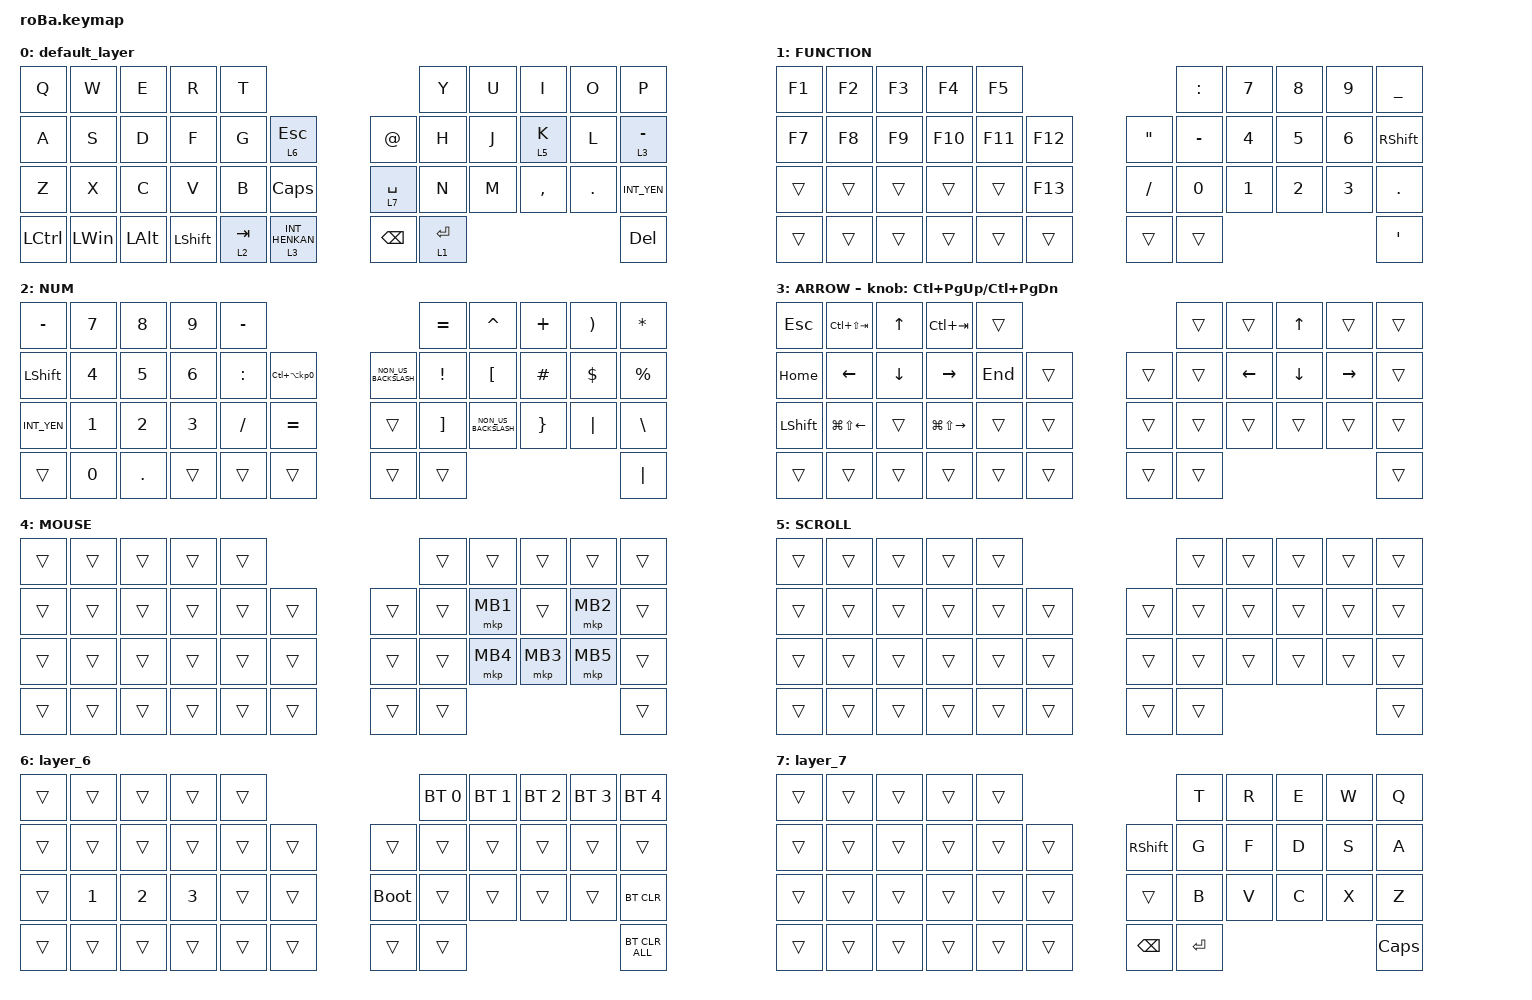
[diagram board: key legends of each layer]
#include <behaviors.dtsi>
#include <dt-bindings/zmk/bt.h>
#include <dt-bindings/zmk/keys.h>
#include <dt-bindings/zmk/pointing.h>

&mt {
    flavor = "balanced";
    quick-tap-ms = <0>;
};

&trackball {
    automouse-layer = <4>;
    scroll-layers = <5>;

    // arrows {
    //     layers = <3>;
    //     bindings =
    //         <&kp RIGHT_ARROW>,
    //         <&kp LEFT_ARROW>,
    //         <&kp UP_ARROW>,
    //         <&kp DOWN_ARROW>;
    //     tick = <10>;
    //     wait-ms = <5>;
    //     tap-ms = <5>;
    // };
};

/ {
    combos {
        compatible = "zmk,combos";

        tab {
            bindings = <&kp TAB>;
            key-positions = <11 12>;
        };

        shift_tab {
            bindings = <&kp LS(TAB)>;
            key-positions = <12 13>;
        };

        muhennkann {
            bindings = <&to_layer_0 INT_MUHENKAN>;
            key-positions = <11 10>;
        };

        double_quotation {
            bindings = <&kp DOUBLE_QUOTES>;
            key-positions = <20 21>;
        };

        eq {
            bindings = <&kp EQUAL>;
            key-positions = <24 25>;
        };
    };

    macros {
        to_layer_0: to_layer_0 {
            compatible = "zmk,behavior-macro-one-param";
            #binding-cells = <1>;
            bindings = <&to 0 &macro_param_1to1 &kp MACRO_PLACEHOLDER>;
            label = "TO_LAYER_0";
        };
    };

    behaviors {
        lt_to_layer_0: lt_to_layer_0 {
            compatible = "zmk,behavior-hold-tap";
            label = "LAYER_TAP_TO_0";
            bindings = <&mo>, <&to_layer_0>;

            #binding-cells = <2>;
            tapping-term-ms = <200>;
        };
    };

    keymap {
        compatible = "zmk,keymap";

        default_layer {
            bindings = <
&kp Q             &kp W         &kp E         &kp R           &kp T                                                      &kp Y        &kp U  &kp I      &kp O    &kp P
&kp A             &kp S         &kp D         &kp F           &kp G      &lt 6 ESCAPE                     &kp AT         &kp H        &kp J  &lt 5 K    &kp L    &lt 3 MINUS
&kp Z             &kp X         &kp C         &kp V           &kp B      &kp CAPS                         &lt 7 SPACE    &kp N        &kp M  &kp COMMA  &kp DOT  &kp INT_YEN
&kp LEFT_CONTROL  &kp LEFT_WIN  &kp LEFT_ALT  &kp LEFT_SHIFT  &lt 2 TAB  &lt_to_layer_0 3 INT_HENKAN      &kp BACKSPACE  &lt 1 ENTER                             &kp DEL
            >;
        };

        FUNCTION {
            bindings = <
&kp F1  &kp F2  &kp F3  &kp F4   &kp F5                                   &kp COLON  &kp N7  &kp N8  &kp N9  &kp UNDER
&kp F7  &kp F8  &kp F9  &kp F10  &kp F11  &kp F12      &kp DOUBLE_QUOTES  &kp MINUS  &kp N4  &kp N5  &kp N6  &kp RIGHT_SHIFT
&trans  &trans  &trans  &trans   &trans   &kp F13      &kp SLASH          &kp N0     &kp N1  &kp N2  &kp N3  &kp PERIOD
&trans  &trans  &trans  &trans   &trans   &trans       &trans             &trans                             &kp SINGLE_QUOTE
            >;
        };

        NUM {
            bindings = <
&kp MINUS       &kp NUMBER_7  &kp NUMBER_8  &kp NUMBER_9  &kp MINUS                                                     &kp EQUAL          &kp CARET             &kp PLUS         &kp RIGHT_PARENTHESIS  &kp STAR
&kp LEFT_SHIFT  &kp NUMBER_4  &kp NUMBER_5  &kp NUMBER_6  &kp COLON  &kp LC(LA(KP_NUMBER_0))      &kp NON_US_BACKSLASH  &kp EXCLAMATION    &kp LEFT_BRACKET      &kp HASH         &kp DOLLAR             &kp PERCENT
&kp INT_YEN     &kp NUMBER_1  &kp NUMBER_2  &kp NUMBER_3  &kp SLASH  &kp EQUAL                    &trans                &kp RIGHT_BRACKET  &kp NON_US_BACKSLASH  &kp RIGHT_BRACE  &kp PIPE               &kp BACKSLASH
&trans          &kp N0        &kp PERIOD    &trans        &trans     &trans                       &trans                &trans                                                                           &kp PIPE
            >;
        };

        ARROW {
            bindings = <
&kp ESCAPE      &kp LC(LS(TAB))         &kp UP_ARROW    &kp LC(TAB)              &trans                       &trans  &trans          &kp UP_ARROW    &trans     &trans
&kp HOME        &kp LEFT_ARROW          &kp DOWN_ARROW  &kp RIGHT_ARROW          &kp END  &trans      &trans  &trans  &kp LEFT_ARROW  &kp DOWN_ARROW  &kp RIGHT  &trans
&kp LEFT_SHIFT  &kp LG(LS(LEFT_ARROW))  &trans          &kp LG(LS(RIGHT_ARROW))  &trans   &trans      &trans  &trans  &trans          &trans          &trans     &trans
&trans          &trans                  &trans          &trans                   &trans   &trans      &trans  &trans                                             &trans
            >;

            sensor-bindings = <&inc_dec_kp LC(PAGE_UP) LC(PAGE_DOWN)>;
        };

        MOUSE {
            bindings = <
&trans  &trans  &trans  &trans  &trans                      &trans  &trans    &trans    &trans    &trans
&trans  &trans  &trans  &trans  &trans  &trans      &trans  &trans  &mkp MB1  &trans    &mkp MB2  &trans
&trans  &trans  &trans  &trans  &trans  &trans      &trans  &trans  &mkp MB4  &mkp MB3  &mkp MB5  &trans
&trans  &trans  &trans  &trans  &trans  &trans      &trans  &trans                                &trans
            >;
        };

        SCROLL {
            bindings = <
&trans  &trans  &trans  &trans  &trans                      &trans  &trans  &trans  &trans  &trans
&trans  &trans  &trans  &trans  &trans  &trans      &trans  &trans  &trans  &trans  &trans  &trans
&trans  &trans  &trans  &trans  &trans  &trans      &trans  &trans  &trans  &trans  &trans  &trans
&trans  &trans  &trans  &trans  &trans  &trans      &trans  &trans                          &trans
            >;
        };

        layer_6 {
            bindings = <
&trans  &trans        &trans        &trans        &trans                           &bt BT_SEL 0  &bt BT_SEL 1  &bt BT_SEL 2  &bt BT_SEL 3  &bt BT_SEL 4
&trans  &trans        &trans        &trans        &trans  &trans      &trans       &trans        &trans        &trans        &trans        &trans
&trans  &kp NUMBER_1  &kp NUMBER_2  &kp NUMBER_3  &trans  &trans      &bootloader  &trans        &trans        &trans        &trans        &bt BT_CLR
&trans  &trans        &trans        &trans        &trans  &trans      &trans       &trans                                                  &bt BT_CLR_ALL
            >;
        };

        layer_7 {
            bindings = <
&trans  &trans  &trans  &trans  &trans                               &kp T      &kp R  &kp E  &kp W  &kp Q
&trans  &trans  &trans  &trans  &trans  &trans      &kp RIGHT_SHIFT  &kp G      &kp F  &kp D  &kp S  &kp A
&trans  &trans  &trans  &trans  &trans  &trans      &trans           &kp B      &kp V  &kp C  &kp X  &kp Z
&trans  &trans  &trans  &trans  &trans  &trans      &kp BACKSPACE    &kp ENTER                       &kp CAPS
            >;
        };
    };
};
